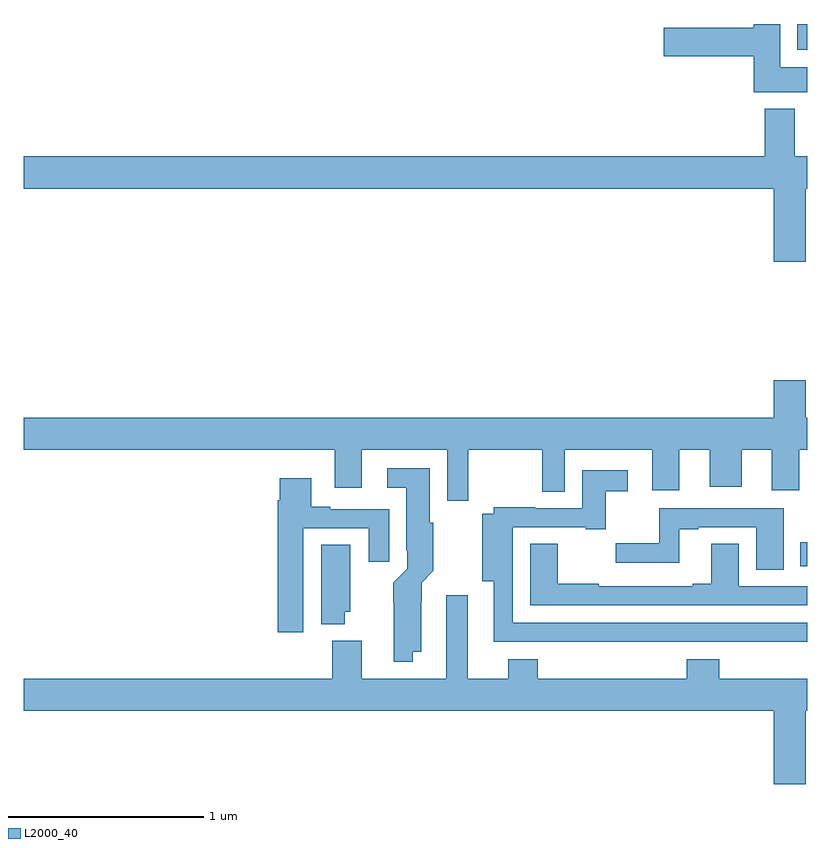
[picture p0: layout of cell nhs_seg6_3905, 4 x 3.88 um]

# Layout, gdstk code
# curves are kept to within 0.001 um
import gdstk
lib = gdstk.Library(unit=1e-6, precision=1e-09)
def R(c, l, rs):  # rectangles x0, y0, x1, y1
    for r in rs: c.add(gdstk.rectangle(r[:2], r[2:], *l))
def P(c, l, *ps):  # polygons
    for p in ps: c.add(gdstk.Polygon(p, *l))
L2000_40 = (2000, 40)

nhs_seg6_3905 = lib.new_cell('nhs_seg6_3905')
R(nhs_seg6_3905, L2000_40, [(344.963,954.734,345,954.856), (344.948,957.368,345,957.5)])
P(nhs_seg6_3905, L2000_40, [(345,957.28),(344.86,957.28),(344.86,957.5),(344.726,957.5),(344.726,957.482),(344.268,957.482),(344.268,957.335),(344.726,957.335),(344.726,957.152),(345,957.152)],
  [(344.992,956.66),(345,956.66),(345,956.824),(344.935,956.824),(344.935,957.067),(344.783,957.067),(344.783,956.824),(341,956.824),(341,956.66),(344.828,956.66),(344.828,956.286),(344.992,956.286)],
  [(343.27,955.328),(343.648,955.328),(343.648,955.114),(343.762,955.114),(343.762,955.328),(344.207,955.328),(344.207,955.122),(344.347,955.122),(344.347,955.328),(344.501,955.328),(344.501,955.14),(344.665,955.14),(344.665,955.328),(344.819,955.328),(344.819,955.122),(344.959,955.122),(344.959,955.328),(345,955.328),(345,955.492),(344.992,955.492),(344.992,955.681),(344.828,955.681),(344.828,955.492),(341,955.492),(341,955.328),(342.587,955.328),(342.587,955.134),(342.727,955.134),(342.727,955.328),(343.161,955.328),(343.161,955.068),(343.27,955.068)],
  [(342.985,954.296),(343.03,954.296),(343.031,954.65),(343.09,954.709),(343.09,954.954),(343.072,954.954),(343.072,955.234),(342.855,955.234),(342.855,955.133),(342.953,955.133),(342.953,954.814),(342.957,954.814),(342.957,954.72),(342.887,954.65),(342.888,954.245),(342.985,954.245)],
  [(344.3,954.348),(344.632,954.348),(344.632,954.347),(345,954.347),(345,954.444),(343.497,954.444),(343.497,954.933),(343.868,954.933),(343.868,954.921),(343.972,954.921),(343.972,955.116),(344.083,955.116),(344.083,955.222),(343.85,955.222),(343.85,955.029),(343.612,955.029),(343.612,955.034),(343.4,955.034),(343.4,955),(343.34,955),(343.34,954.656),(343.4,954.656),(343.4,954.348),(343.708,954.348),(343.708,954.347),(344.3,954.347)],
  [(342.427,954.927),(342.761,954.927),(342.761,954.756),(342.865,954.756),(342.865,955.023),(342.565,955.023),(342.565,955.036),(342.469,955.036),(342.469,955.183),(342.308,955.183),(342.308,955.07),(342.296,955.07),(342.296,954.396),(342.427,954.396)],
  [(344.878,955.029),(344.245,955.029),(344.245,954.851),(344.022,954.851),(344.022,954.75),(344.347,954.75),(344.347,954.921),(344.443,954.921),(344.443,954.933),(344.738,954.933),(344.738,954.715),(344.878,954.715)],
  [(345,954.63),(344.65,954.63),(344.65,954.848),(344.51,954.848),(344.51,954.643),(344.414,954.643),(344.414,954.63),(343.934,954.63),(343.934,954.643),(343.726,954.643),(343.726,954.848),(343.586,954.848),(343.586,954.534),(345,954.534)],
  [(342.64,954.501),(342.667,954.501),(342.667,954.842),(342.518,954.842),(342.518,954.437),(342.64,954.437)],
  [(344.992,953.996),(345,953.996),(345,954.16),(344.549,954.16),(344.549,954.259),(344.384,954.259),(344.384,954.16),(343.625,954.16),(343.625,954.259),(343.472,954.259),(343.472,954.16),(343.267,954.16),(343.267,954.586),(343.157,954.586),(343.157,954.16),(342.727,954.16),(342.727,954.352),(342.575,954.352),(342.575,954.16),(341,954.16),(341,953.996),(344.828,953.996),(344.828,953.622),(344.992,953.622)])

lib.write_gds('nhs_seg6_3905.gds')
